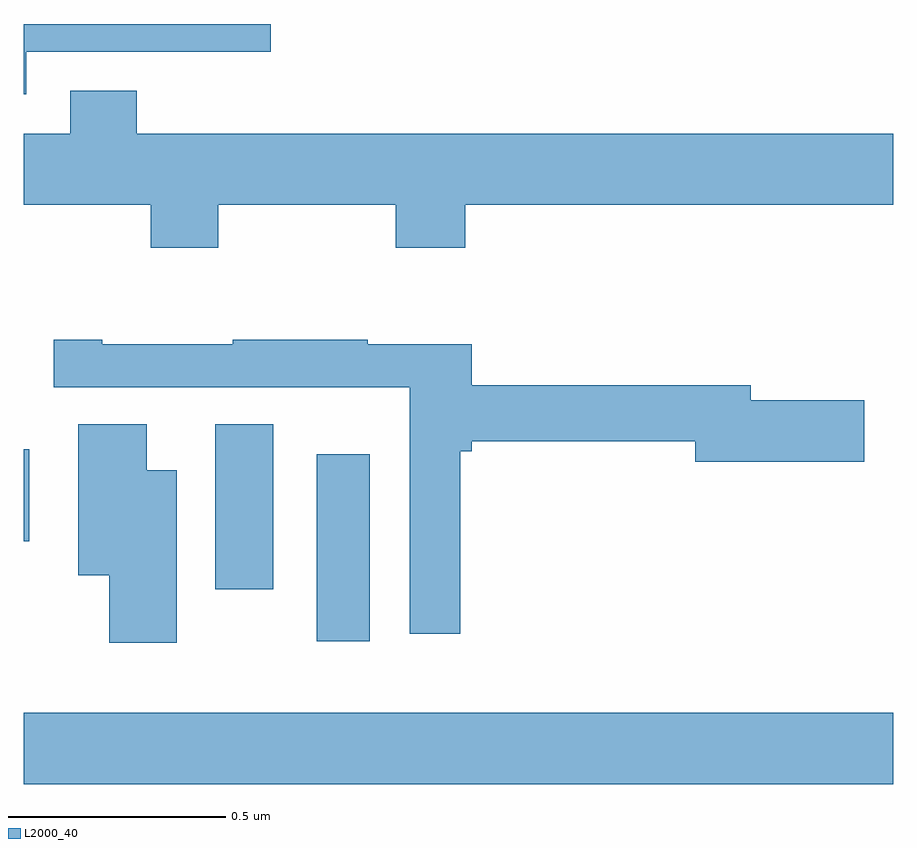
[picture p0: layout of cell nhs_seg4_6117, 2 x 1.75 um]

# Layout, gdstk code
import gdstk
lib = gdstk.Library(unit=1e-6, precision=1e-09)
def R(c, l, rs):  # rectangles x0, y0, x1, y1
    for r in rs: c.add(gdstk.rectangle(r[:2], r[2:], *l))
def P(c, l, *ps):  # polygons
    for p in ps: c.add(gdstk.Polygon(p, *l))
L2000_40 = (2000, 40)

nhs_seg4_6117 = lib.new_cell('nhs_seg4_6117')
R(nhs_seg4_6117, L2000_40, [(186,798.152,188,798.316), (186.674,798.48,186.796,798.91), (186.44,798.6,186.574,798.98), (186,798.71,186.013,798.922)])
P(nhs_seg4_6117, L2000_40, [(186.006,799.836),(186.568,799.836),(186.568,799.9),(186,799.9),(186,799.739),(186.006,799.739)],
  [(186.447,799.484),(186.856,799.484),(186.856,799.385),(187.016,799.385),(187.016,799.484),(188,799.484),(188,799.648),(186.26,799.648),(186.26,799.747),(186.107,799.747),(186.107,799.648),(186,799.648),(186,799.484),(186.292,799.484),(186.292,799.385),(186.447,799.385)],
  [(187.004,798.917),(187.031,798.917),(187.031,798.94),(187.544,798.94),(187.544,798.893),(187.933,798.893),(187.933,799.035),(187.672,799.035),(187.672,799.069),(187.031,799.069),(187.031,799.164),(186.791,799.164),(186.791,799.174),(186.481,799.174),(186.481,799.164),(186.181,799.164),(186.181,799.174),(186.069,799.174),(186.069,799.065),(186.678,799.065),(186.678,799.064),(186.888,799.064),(186.888,798.498),(187.004,798.498)],
  [(186.352,798.874),(186.283,798.874),(186.283,798.98),(186.125,798.98),(186.125,798.632),(186.197,798.632),(186.197,798.477),(186.352,798.477)])

lib.write_gds('nhs_seg4_6117.gds')
